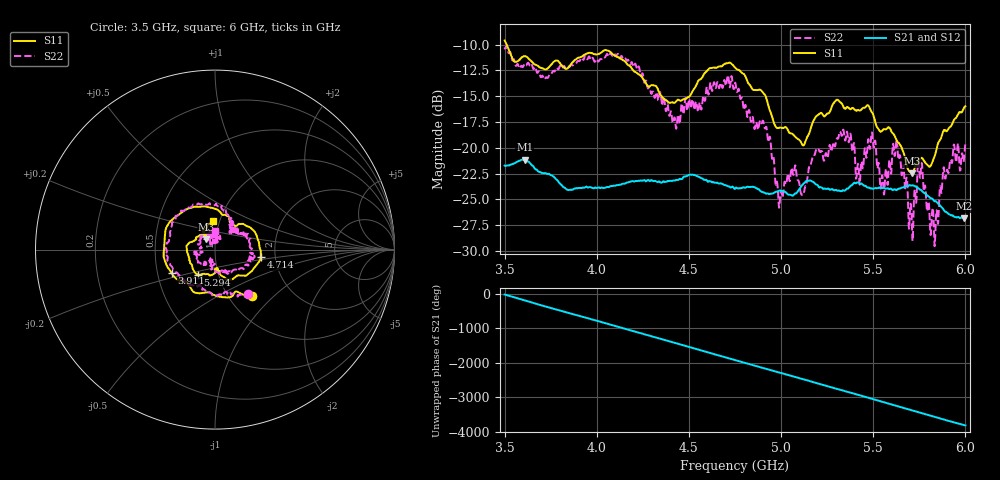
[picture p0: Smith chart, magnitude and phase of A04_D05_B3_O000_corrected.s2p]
! Created with skrf 1.9.0 (http://scikit-rf.org).
# Hz S RI R 50.0
!freq ReS11 ImS11 ReS21 ImS21 ReS12 ImS12 ReS22 ImS22
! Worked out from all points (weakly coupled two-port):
!   1601 points, 3.5 GHz to 6 GHz, reference 50 ohm
!   highest |S21| = -21.14 dB at 3.609 GHz (marker M1); lowest = -26.8 dB at 5.991 GHz (marker M2)
!   lowest |S11| = -22.5 dB at 5.709 GHz (marker M3), VSWR 1.16, Z = 45.1 + j5.19 ohm
!   |S11| at or under -10 dB: 3.511 GHz to end of sweep
!   |S22| runs from -29.5 to -10.1 dB; largest |S21 - S12| = 0.0011
!   S11 on the Smith chart (normalised r, x): 3.5 GHz: 1.27, -0.74; 3.911 GHz: 0.59, -0.17; 4.714 GHz: 1.68, -0.14; 5.294 GHz: 0.80, -0.23; 6 GHz: 0.93, +0.30
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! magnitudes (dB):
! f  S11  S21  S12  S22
! 3.5 GHz  -9.6  -21.7  -21.7  -10.3
! 3.609 GHz  -11.1  -21.1  -21.2  -11.9
! 3.911 GHz  -11.2  -23.9  -23.9  -11.5
! 3.917 GHz  -11.2  -23.9  -23.9  -11.3
! 4.334 GHz  -14.4  -23.3  -23.2  -15.4
! 4.423 GHz  -15.6  -23.2  -23.2  -17.1
! 4.714 GHz  -11.8  -23.7  -23.8  -13.1
! 4.75 GHz  -12.2  -24.0  -23.9  -13.7
! 4.911 GHz  -14.8  -24.4  -24.3  -18.1
! 4.997 GHz  -18.0  -24.1  -24.1  -24.4
! 5.167 GHz  -17.7  -23.3  -23.2  -21.2
! 5.294 GHz  -15.5  -24.1  -24.1  -19.8
! 5.417 GHz  -16.4  -23.4  -23.4  -21.6
! 5.5 GHz  -16.8  -24.0  -23.9  -19.8
! 5.584 GHz  -18.0  -24.0  -24.0  -21.8
! 5.634 GHz  -19.5  -24.0  -24.0  -20.8
! 5.709 GHz  -22.5  -23.7  -23.6  -27.3
! 5.753 GHz  -21.1  -24.0  -24.0  -22.9
! 5.841 GHz  -20.4  -25.2  -25.2  -26.6
! 5.888 GHz  -18.3  -26.2  -26.1  -22.6
! 5.991 GHz  -16.2  -26.8  -26.8  -21.4
! 6 GHz  -16.0  -26.8  -26.8  -19.6
